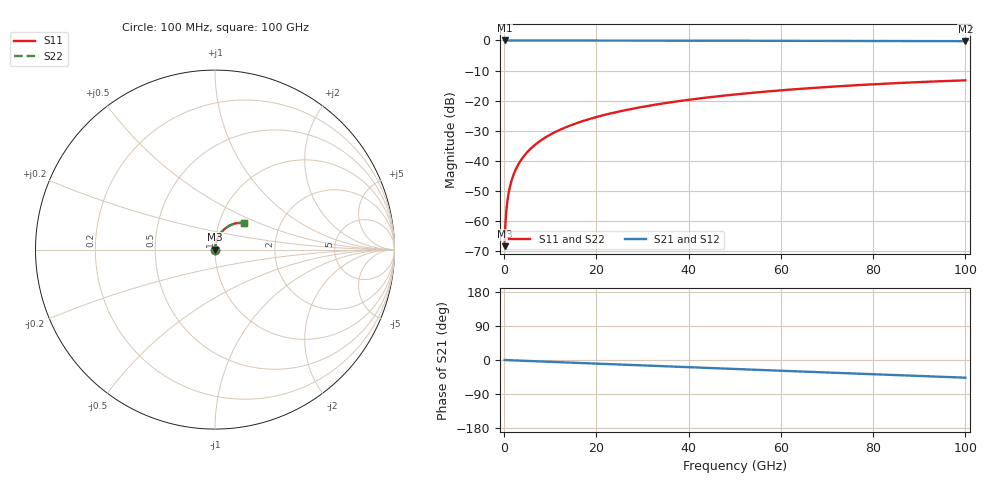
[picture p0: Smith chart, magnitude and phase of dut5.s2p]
! Touchstone file exported from HFSS 2026.1.0
!  File:  C:/ffzhzh/LocalFiles/Ansys_Project_Files/temp_train_TSV_5_1783504143_31944.aedt
!  Generated:  05:50:32 PM Jul  8, 2026
!  Design:  TSV
!  Project:  temp_train_TSV_5_1783504143_31944
! Variables:
!  h_bsmrdl = 2um
!  h_ox = 20um
!  h_rdl = 5um
!  h_sub = 89.98um
!  h_tmrdl = 5um
!  h_tsv = 89.98um
!  h_via = 3um
!  l_bsmrdl = 300um
!  l_sub = 415.1um
!  l_tmrdl = 200um
!  m_sub = 200um
!  pitch = 47.59um
!  r_tsv = 7.55um
!  s_tmrdl = 10um
!  w_bsmrdl = 18um
!  w_sub = 500um
!  w_tmrdl = 12um
!  x_tsv_center1 = 206um
!  x_tsv_center2 = 524um
!  x_tsv_center3 = 736um
!  x_tsv_center4 = 1054um
!  x_tsv_center5 = 1266um
!  x_tsv_center6 = 1584um
# GHz S MA R 50.000000
! Terminal data exported
! Port[1] = TSV1_1_T1
! Port[2] = TSV1_1_T2
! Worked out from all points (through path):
!   1000 points, 100 MHz to 100 GHz, reference 50 ohm
!   highest |S21| = 0.00 dB at 100 MHz (marker M1); lowest = -0.2 dB at 100 GHz (marker M2)
!   group delay of S21, straight-line fit = 1.3 ps
!   lowest |S11| = -68.4 dB at 100 MHz (marker M3), VSWR 1.00, Z = 50 + j0.0315 ohm
!   |S11| at or under -10 dB: start of sweep to end of sweep
!   |S22| runs from -68.4 to -13.3 dB; largest |S21 - S12| = 7.9e-15
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0.1  0.0003812 55.6  0.9998 -0.1  0.9998 -0.1  0.0003812 55.6
! Gamma 0 0 0 0
! Port Impedance 50 0 50 0
0.4  0.001256 77.6  0.9997 -0.2  0.9997 -0.2  0.001256 77.6
0.7  0.002124 81.0  0.9997 -0.3  0.9997 -0.3  0.002124 81.0
0.8  0.00241 81.5  0.9997 -0.4  0.9997 -0.4  0.00241 81.5
1  0.002979 82.4  0.9996 -0.5  0.9996 -0.5  0.002979 82.4
1.3  0.003826 83.1  0.9996 -0.6  0.9996 -0.6  0.003826 83.1
1.7  0.004944 83.6  0.9995 -0.8  0.9995 -0.8  0.004944 83.6
2.3  0.006601 84.0  0.9994 -1.1  0.9994 -1.1  0.006601 84.0
3  0.00851 84.1  0.9993 -1.5  0.9993 -1.5  0.00851 84.1
3.8  0.01067 84.2  0.9992 -1.8  0.9992 -1.8  0.01067 84.2
4.8  0.01336 84.1  0.9991 -2.3  0.9991 -2.3  0.01336 84.1
6  0.01657 83.9  0.9989 -2.9  0.9989 -2.9  0.01657 83.9
8.8  0.02403 83.1  0.9986 -4.2  0.9986 -4.2  0.02403 83.1
12.4  0.03354 81.7  0.9981 -6.0  0.9981 -6.0  0.03354 81.7
16.8  0.04504 79.9  0.9974 -8.0  0.9974 -8.0  0.04504 79.9
24.2  0.06409 76.8  0.9961 -11.6  0.9961 -11.6  0.06409 76.8
33.4  0.08715 72.7  0.994 -15.9  0.994 -15.9  0.08715 72.7
41.2  0.106 69.1  0.9919 -19.6  0.9919 -19.6  0.106 69.1
50.1  0.1266 65.1  0.9893 -23.8  0.9893 -23.8  0.1266 65.1
66.7  0.1619 57.5  0.9838 -31.5  0.9838 -31.5  0.1619 57.5
83.4  0.1926 50.0  0.9779 -39.1  0.9779 -39.1  0.1926 50.0
100  0.2175 42.5  0.9724 -46.7  0.9724 -46.7  0.2175 42.5
